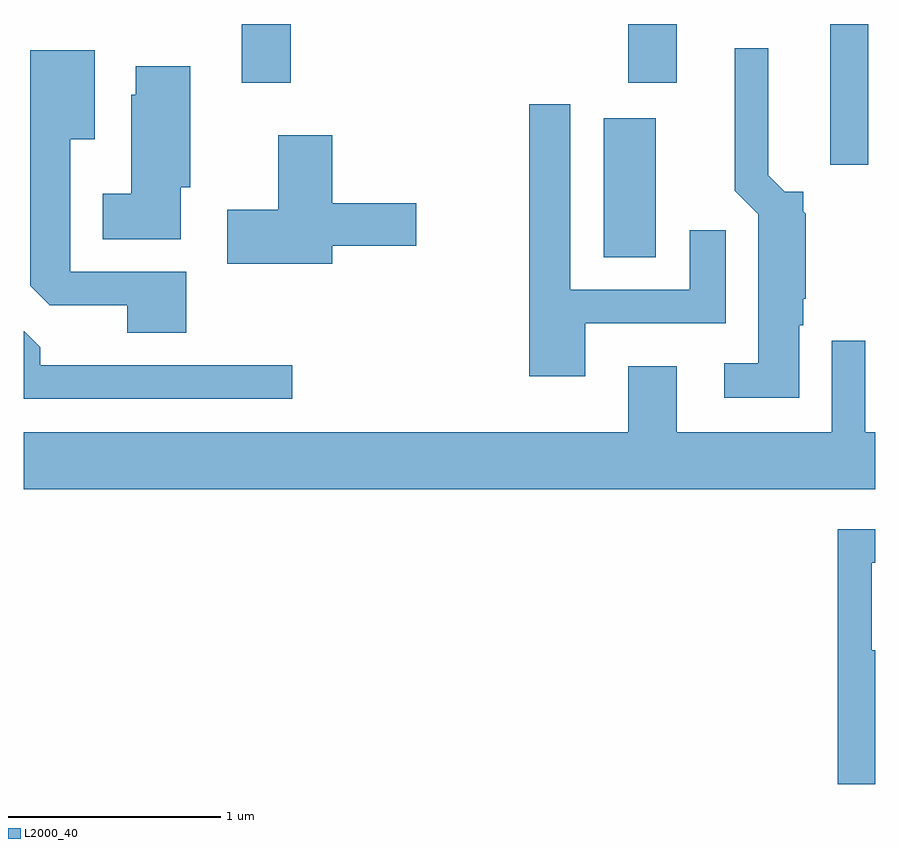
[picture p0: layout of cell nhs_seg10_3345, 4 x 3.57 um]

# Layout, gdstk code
import gdstk
lib = gdstk.Library(unit=1e-6, precision=1e-09)
def R(c, l, rs):  # rectangles x0, y0, x1, y1
    for r in rs: c.add(gdstk.rectangle(r[:2], r[2:], *l))
def P(c, l, *ps):  # polygons
    for p in ps: c.add(gdstk.Polygon(p, *l))
L2000_40 = (2000, 40)

nhs_seg10_3345 = lib.new_cell('nhs_seg10_3345')
R(nhs_seg10_3345, L2000_40, [(286.336,2139.426,286.579,2140.079), (287.401,2139.861,287.579,2140.522), (284.636,2140.246,284.864,2140.522), (286.451,2140.246,286.679,2140.522)])
P(nhs_seg10_3345, L2000_40, [(287.254,2139.106),(287.274,2139.106),(287.274,2139.23),(287.284,2139.23),(287.284,2139.631),(287.274,2139.641),(287.274,2139.734),(287.187,2139.734),(287.109,2139.812),(287.109,2140.408),(286.951,2140.408),(286.951,2139.739),(287.061,2139.629),(287.061,2138.929),(286.903,2138.929),(286.903,2138.766),(287.254,2138.766)],
  [(284.374,2139.359),(283.829,2139.359),(283.829,2139.981),(283.944,2139.981),(283.944,2140.399),(283.641,2140.399),(283.641,2139.292),(283.732,2139.201),(284.096,2139.201),(284.096,2139.071),(284.374,2139.071)],
  [(284.349,2139.756),(284.394,2139.756),(284.394,2140.324),(284.136,2140.324),(284.136,2140.189),(284.116,2140.189),(284.116,2139.724),(283.981,2139.724),(283.981,2139.511),(284.349,2139.511)],
  [(286.249,2139.116),(286.909,2139.116),(286.909,2139.553),(286.741,2139.553),(286.741,2139.274),(286.179,2139.274),(286.179,2140.144),(285.986,2140.144),(285.986,2138.866),(286.249,2138.866)],
  [(285.059,2139.481),(285.454,2139.481),(285.454,2139.679),(285.059,2139.679),(285.059,2139.999),(284.806,2139.999),(284.806,2139.649),(284.566,2139.649),(284.566,2139.396),(285.059,2139.396)],
  [(284.873,2138.919),(283.689,2138.919),(283.689,2139.004),(283.614,2139.079),(283.611,2139.079),(283.611,2138.761),(284.873,2138.761)],
  [(287.611,2138.604),(287.564,2138.604),(287.564,2139.033),(287.406,2139.033),(287.406,2138.604),(286.679,2138.604),(286.679,2138.914),(286.451,2138.914),(286.451,2138.604),(283.611,2138.604),(283.611,2138.336),(287.611,2138.336)],
  [(287.611,2137.579),(287.594,2137.579),(287.594,2137.991),(287.611,2137.991),(287.611,2138.149),(287.436,2138.149),(287.436,2136.951),(287.611,2136.951)])

lib.write_gds('nhs_seg10_3345.gds')
